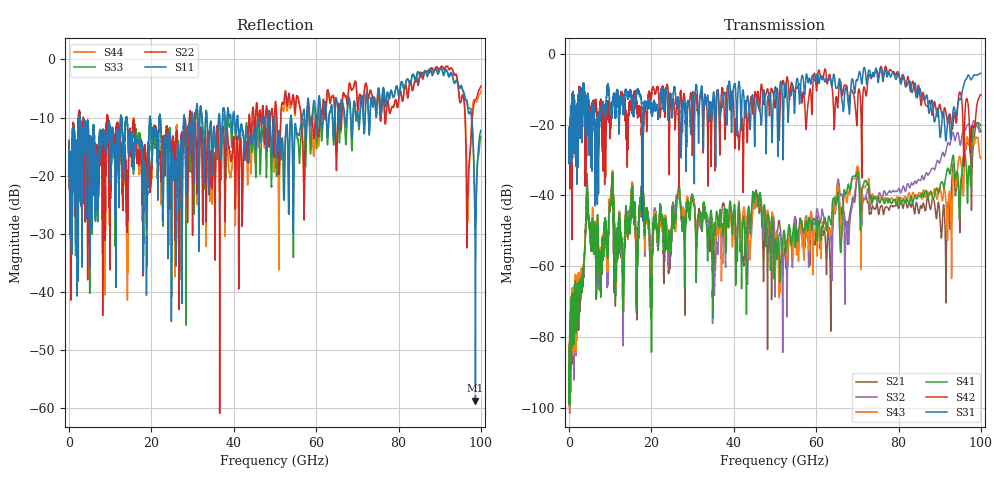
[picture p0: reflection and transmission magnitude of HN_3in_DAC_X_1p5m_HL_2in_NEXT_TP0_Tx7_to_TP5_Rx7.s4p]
# GHz S RI R 45
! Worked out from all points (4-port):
!   4000 points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, 25 MHz to 100 GHz, reference 45 ohm
!   strongest paths, dB at 25 MHz, 25.02 GHz, 50.02 GHz, 75.03 GHz, 100 GHz:
!     S31: -20.8, -18.1, -9.5, -8.0, -5.4
!     S42: -20.8, -16.2, -15.1, -5.7, -11.5
!     S41: -87.4, -45.5, -53.4, -40.6, -21.7
!     S43: -97.5, -46.9, -53.3, -40.9, -29.6
!     S32: -98.9, -47.4, -68.7, -41.0, -21.9
!     S21: -94.9, -46.6, -57.4, -44.1, -20.2
!   lowest |S11| = -58.7 dB at 98.67 GHz (marker M1), VSWR 1.00, Z = 44.9 - j0.0587 ohm
!   |S11| at or under -10 dB: 2.653 GHz to 12.57 GHz (9.914 GHz wide, 130 % of centre); 14.03 GHz to 19.59 GHz (5.561 GHz wide, 33.1 % of centre); 22.16 GHz to 27.84 GHz (5.687 GHz wide, 22.7 % of centre) (the widest 3 of 52)
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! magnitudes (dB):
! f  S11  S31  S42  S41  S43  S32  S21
! 25 MHz  -14.0  -20.8  -20.8  -87.4  -97.5  -98.9  -94.9
! 10.28 GHz  -13.5  -14.9  -16.3  -39.6  -38.3  -39.2  -40.4
! 51.27 GHz  -14.9  -8.3  -14.3  -64.1  -67.6  -50.6  -49.0
! 69.92 GHz  -9.0  -7.4  -19.6  -33.7  -32.0  -33.7  -35.3
! 91.53 GHz  -1.7  -24.5  -16.8  -34.4  -41.8  -27.3  -70.4
! 98.67 GHz  -58.7  -6.0  -18.7  -19.8  -23.7  -19.8  -20.9
! 100 GHz  -12.2  -5.4  -11.5  -21.7  -29.6  -21.9  -20.2
